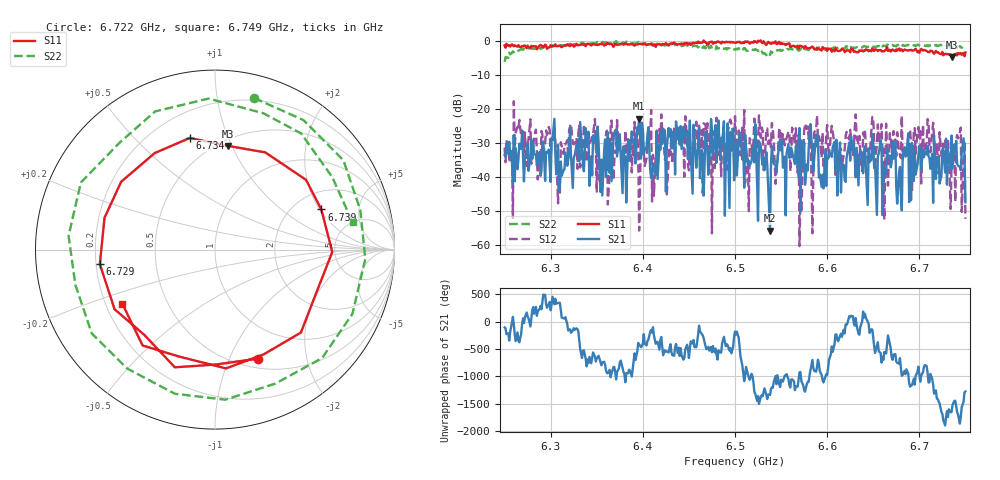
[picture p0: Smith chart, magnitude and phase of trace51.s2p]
# Hz S RI R 50
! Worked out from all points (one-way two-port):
!   401 points, 6.25 GHz to 6.75 GHz, reference 50 ohm
!   highest |S21| = -22.82 dB at 6.396 GHz (marker M1); lowest = -55.8 dB at 6.538 GHz (marker M2)
!   lowest |S11| = -4.7 dB at 6.735 GHz (marker M3), VSWR 3.79, Z = 27.7 + j48.5 ohm
!   |S11| at or under -10 dB: nowhere
!   |S22| runs from -6.1 to 0.0 dB; largest |S21 - S12| = 0.12
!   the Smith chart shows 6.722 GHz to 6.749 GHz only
!   S11 on the Smith chart (normalised r, x): 6.722 GHz: 0.61, -1.28; 6.729 GHz: 0.22, -0.06; 6.734 GHz: 0.35, +0.74; 6.739 GHz: 2.77, +2.07; 6.749 GHz: 0.27, -0.25
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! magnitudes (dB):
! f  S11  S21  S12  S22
! 6.25 GHz  -1.3  -33.6  -31.4  -6.1
! 6.334 GHz  -0.9  -31.4  -34.1  -0.4
! 6.372 GHz  -1.1  -34.0  -23.2  -0.7
! 6.38 GHz  -0.9  -36.2  -36.3  -0.7
! 6.396 GHz  -0.8  -22.8  -55.8  -0.7
! 6.418 GHz  -0.8  -30.4  -25.9  -1.1
! 6.5 GHz  -0.5  -37.4  -22.1  -2.6
! 6.538 GHz  -0.6  -55.8  -28.6  -4.1
! 6.564 GHz  -1.4  -35.0  -28.5  -2.4
! 6.57 GHz  -1.4  -25.6  -60.4  -2.7
! 6.576 GHz  -1.5  -42.3  -24.3  -2.4
! 6.584 GHz  -1.6  -33.4  -56.6  -2.6
! 6.594 GHz  -2.8  -42.9  -34.3  -2.3
! 6.668 GHz  -2.6  -33.7  -27.1  -1.4
! 6.722 GHz  -3.7  -41.9  -26.8  -1.2
! 6.729 GHz  -3.8  -28.7  -34.4  -1.5
! 6.734 GHz  -3.9  -37.7  -49.4  -1.6
! 6.735 GHz  -4.7  -27.8  -35.7  -1.7
! 6.739 GHz  -4.0  -32.5  -47.3  -1.7
! 6.742 GHz  -3.5  -36.7  -28.7  -1.5
! 6.749 GHz  -4.5  -33.4  -29.4  -2.1
! 6.75 GHz  -3.4  -47.5  -52.3  -2.3
